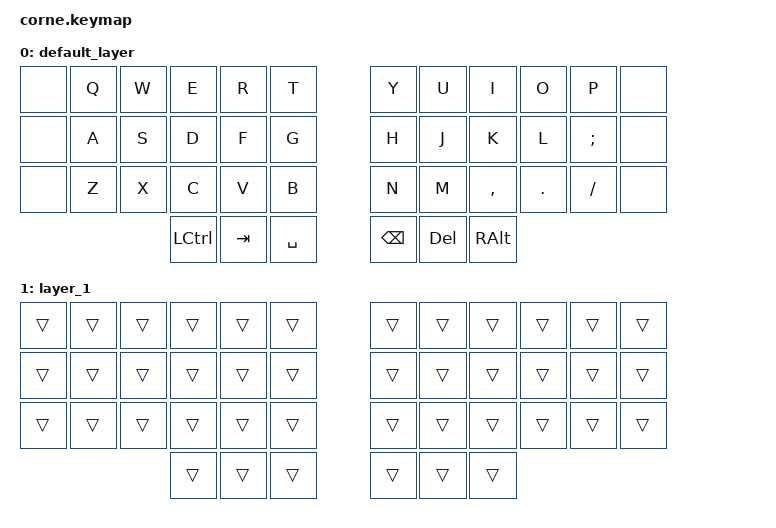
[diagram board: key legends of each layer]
/*
 * Copyright (c) 2020 The ZMK Contributors
 *
 * SPDX-License-Identifier: MIT
 */

#include <behaviors.dtsi>
#include <dt-bindings/zmk/keys.h>

// LAYERS

#define DEFAULT 0
#define NUM     1
#define SYM     2
#define FUNC    3

// MACROS

#define SUPER LC(LSHIFT)
#define SUPER2 LA(LC(LSHIFT))

/ {
    combos { compatible = "zmk,combos"; };

    keymap {
        compatible = "zmk,keymap";

        default_layer {
            bindings = <
&none  &kp Q  &kp W  &kp E      &kp R    &kp T        &kp Y     &kp U    &kp I      &kp O    &kp P     &none
&none  &kp A  &kp S  &kp D      &kp F    &kp G        &kp H     &kp J    &kp K      &kp L    &kp SEMI  &none
&none  &kp Z  &kp X  &kp C      &kp V    &kp B        &kp N     &kp M    &kp COMMA  &kp DOT  &kp FSLH  &none
                     &kp LCTRL  &kp TAB  &kp SPACE    &kp BSPC  &kp DEL  &kp RALT
            >;
        };

        layer_1 {
            bindings = <
&trans  &trans  &trans  &trans  &trans  &trans    &trans  &trans  &trans  &trans  &trans  &trans
&trans  &trans  &trans  &trans  &trans  &trans    &trans  &trans  &trans  &trans  &trans  &trans
&trans  &trans  &trans  &trans  &trans  &trans    &trans  &trans  &trans  &trans  &trans  &trans
                        &trans  &trans  &trans    &trans  &trans  &trans
            >;
        };
    };
};
